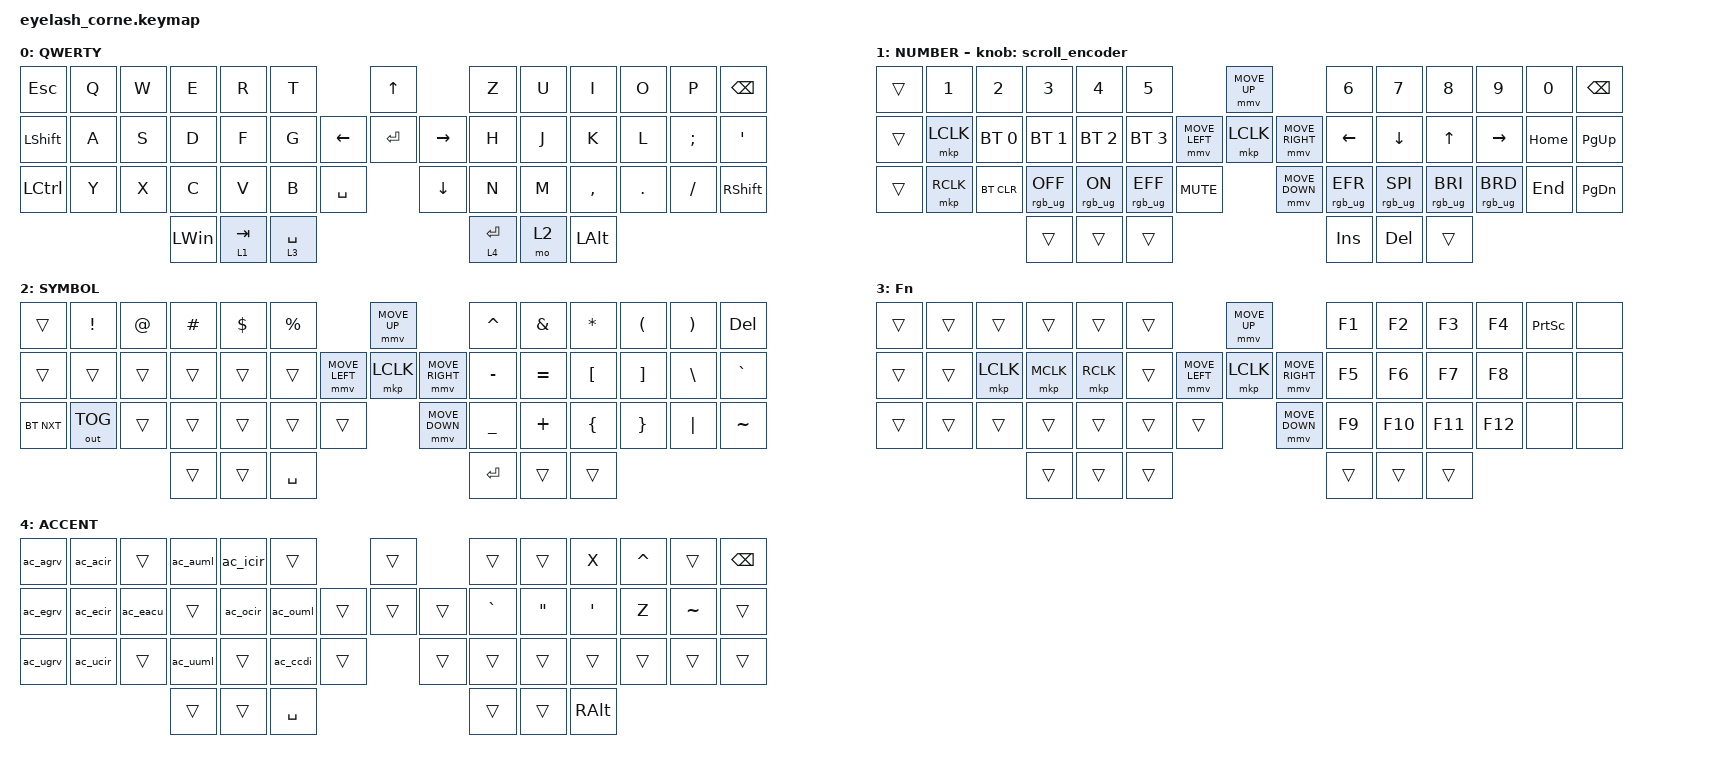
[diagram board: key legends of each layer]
#define ZMK_POINTING_DEFAULT_MOVE_VAL 1200  // 600
#define ZMK_POINTING_DEFAULT_SCRL_VAL 25   // 10

#include <input/processors.dtsi>
#include <zephyr/dt-bindings/input/input-event-codes.h>
#include <behaviors.dtsi>
#include <dt-bindings/zmk/bt.h>
#include <dt-bindings/zmk/keys.h>
#include <dt-bindings/zmk/outputs.h>
#include <dt-bindings/zmk/pointing.h>
#include <dt-bindings/zmk/rgb.h>
#include "accents.dtsi"

&mmv_input_listener { input-processors = <&zip_xy_scaler 2 1>; };

&msc_input_listener { input-processors = <&zip_scroll_scaler 2 1>; };

&msc {
    acceleration-exponent = <1>;      // 0
    time-to-max-speed-ms = <100>;       // 300
    delay-ms = <0>;                   // 0
};

&mmv {
    time-to-max-speed-ms = <500>;
    acceleration-exponent = <1>;
    trigger-period-ms = <16>;
};

/ {
    behaviors {
        td0: td0 {
            compatible = "zmk,behavior-tap-dance";
            display-name = "Shift/Caps Lock Tap Dance";
            #binding-cells = <0>;
            bindings = <&kp LEFT_SHIFT>, <&kp CAPS>;
        };
    };

    rgb_encoder: rgb_encoder {
        compatible = "zmk,behavior-sensor-rotate";
        #sensor-binding-cells = <0>;
        bindings = <&rgb_ug RGB_BRI>, <&rgb_ug RGB_BRD>;
    };

    scroll_encoder: scroll_encoder {
        compatible = "zmk,behavior-sensor-rotate";
        #sensor-binding-cells = <0>;
        bindings = <&msc SCRL_DOWN>, <&msc SCRL_UP>;

        tap-ms = <100>;
    };

    keymap {
        compatible = "zmk,keymap";

        default_layer {
            display-name = "QWERTY";
            bindings = <
&kp ESCAPE      &kp Q  &kp W  &kp E         &kp R      &kp T                               &kp UP                &kp Z        &kp U  &kp I      &kp O    &kp P      &kp BSPC
&kp LEFT_SHIFT  &kp A  &kp S  &kp D         &kp F      &kp G                     &kp LEFT  &kp ENTER  &kp RIGHT  &kp H        &kp J  &kp K      &kp L    &kp SEMI   &kp SQT
&kp LCTRL       &kp Y  &kp X  &kp C         &kp V      &kp B        &kp SPACE              &kp DOWN              &kp N        &kp M  &kp COMMA  &kp DOT  &kp SLASH  &kp RIGHT_SHIFT
                              &kp LEFT_WIN  &lt 1 TAB  &lt 3 SPACE                                               &lt 4 ENTER  &mo 2  &kp LALT
            >;
        };

        lower_layer {
            display-name = "NUMBER";
            bindings = <
&trans  &kp N1     &kp N2        &kp N3           &kp N4          &kp N5                                         &mmv MOVE_UP                     &kp N6           &kp N7           &kp N8           &kp N9           &kp N0    &kp BSPC
&trans  &mkp LCLK  &bt BT_SEL 0  &bt BT_SEL 1     &bt BT_SEL 2    &bt BT_SEL 3                   &mmv MOVE_LEFT  &mkp LCLK       &mmv MOVE_RIGHT  &kp LEFT         &kp DOWN         &kp UP           &kp RIGHT        &kp HOME  &kp PG_UP
&trans  &mkp RCLK  &bt BT_CLR    &rgb_ug RGB_OFF  &rgb_ug RGB_ON  &rgb_ug RGB_EFF  &kp C_MUTE                    &mmv MOVE_DOWN                   &rgb_ug RGB_EFR  &rgb_ug RGB_SPI  &rgb_ug RGB_BRI  &rgb_ug RGB_BRD  &kp END   &kp PG_DN
                                 &trans           &trans          &trans                                                                          &kp INS          &kp DEL          &trans
            >;

            sensor-bindings = <&scroll_encoder>;
        };

        layer_2 {
            display-name = "SYMBOL";
            bindings = <
&trans      &kp EXCL      &kp AT  &kp HASH  &kp DLLR  &kp PRCNT                            &mmv MOVE_UP                     &kp CARET  &kp AMPS   &kp ASTRK  &kp LPAR  &kp RPAR  &kp DELETE
&trans      &trans        &trans  &trans    &trans    &trans               &mmv MOVE_LEFT  &mkp LCLK       &mmv MOVE_RIGHT  &kp MINUS  &kp EQUAL  &kp LBKT   &kp RBKT  &kp BSLH  &kp GRAVE
&bt BT_NXT  &out OUT_TOG  &trans  &trans    &trans    &trans     &trans                    &mmv MOVE_DOWN                   &kp UNDER  &kp PLUS   &kp LBRC   &kp RBRC  &kp PIPE  &kp TILDE
                                  &trans    &trans    &kp SPACE                                                             &kp RET    &trans     &trans
            >;
        };

        layer_3 {
            display-name = "Fn";
            bindings = <
&trans  &trans  &trans     &trans     &trans     &trans                            &mmv MOVE_UP                     &kp F1  &kp F2   &kp F3   &kp F4   &kp PRINTSCREEN  &none
&trans  &trans  &mkp LCLK  &mkp MCLK  &mkp RCLK  &trans            &mmv MOVE_LEFT  &mkp LCLK       &mmv MOVE_RIGHT  &kp F5  &kp F6   &kp F7   &kp F8   &none            &none
&trans  &trans  &trans     &trans     &trans     &trans  &trans                    &mmv MOVE_DOWN                   &kp F9  &kp F10  &kp F11  &kp F12  &none            &none
                           &trans     &trans     &trans                                                             &trans  &trans   &trans
            >;
        };

        layer_4 {
            display-name = "ACCENT";
            bindings = <
&ac_agrv    &ac_acir    &trans      &ac_auml    &ac_icir    &trans                      &trans              &trans      &trans      &kp X       &kp CARET   &trans      &kp BSPC
&ac_egrv    &ac_ecir    &ac_eacu    &trans      &ac_ocir    &ac_ouml            &trans  &trans  &trans      &kp GRAVE   &kp DQT     &kp SQT     &kp Z       &kp TILDE   &trans
&ac_ugrv    &ac_ucir    &trans      &ac_uuml    &trans      &ac_ccdi    &trans          &trans              &trans      &trans      &trans      &trans      &trans      &trans
                                    &trans      &trans      &kp SPACE                                       &trans      &trans      &kp RIGHT_ALT
            >;
        };
    };
};
